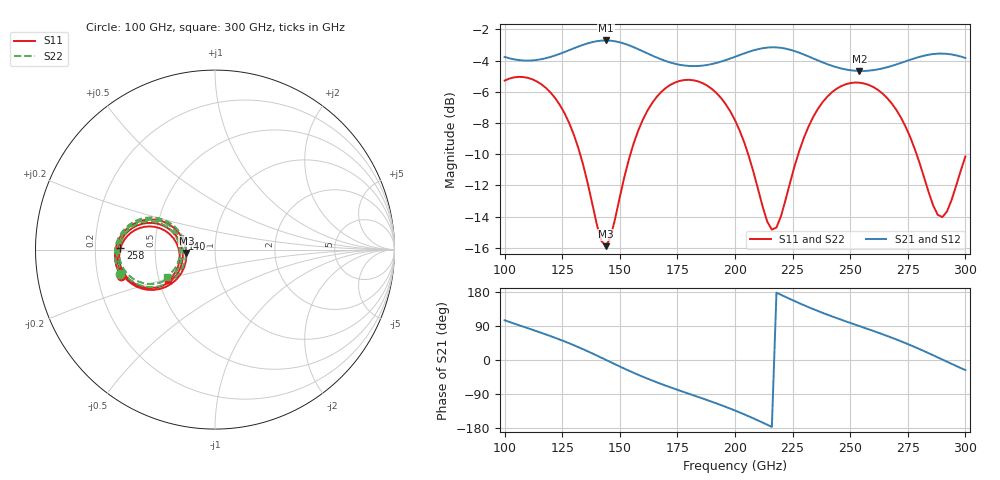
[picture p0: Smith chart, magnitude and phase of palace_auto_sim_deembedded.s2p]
! Created with skrf 1.11.0 (http://scikit-rf.org).
# GHz S DB R 50.0
!freq dBS11 angS11 dBS21 angS21 dBS12 angS12 dBS22 angS22
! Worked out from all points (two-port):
!   101 points, 100 GHz to 300 GHz, reference 50 ohm
!   highest |S21| = -2.71 dB at 144 GHz (marker M1); lowest = -4.7 dB at 254 GHz (marker M2)
!   |S21| within 3 dB of the highest: start of sweep to end of sweep
!   lowest |S11| = -15.9 dB at 144 GHz (marker M3), VSWR 1.38, Z = 36.2 - j1.39 ohm
!   |S11| at or under -10 dB: 132.8 GHz to 154.6 GHz (21.86 GHz wide, 15.2 % of centre); 205.7 GHz to 227.5 GHz (21.77 GHz wide, 10.1 % of centre); 278.8 GHz to end of sweep
!   |S22| runs from -15.8 to -5.1 dB; largest |S21 - S12| = 1.1e-13
!   S11 on the Smith chart (normalised r, x): 100 GHz: 0.30, -0.13; 140 GHz: 0.69, +0.08; 258 GHz: 0.31, +0.01; 300 GHz: 0.56, -0.21
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100  -5.29 -164.2  -3.77 104.9  -3.77 104.9  -5.29 -165.6
116  -5.53 171.4  -3.91 71.5  -3.91 71.5  -5.53 169.8
126  -7.38 157.4  -3.46 49.0  -3.46 49.0  -7.38 155.6
134  -10.64 151.2  -3.00 28.6  -3.00 28.6  -10.63 149.4
140  -14.50 162.0  -2.76 11.9  -2.76 11.9  -14.45 160.1
144  -15.90 -173.3  -2.71 0.3  -2.71 0.3  -15.84 -175.5
156  -9.32 -142.7  -3.14 -33.8  -3.14 -33.8  -9.32 -145.3
168  -6.01 -157.5  -3.93 -63.3  -3.93 -63.3  -6.02 -160.1
184  -5.34 179.4  -4.35 -97.5  -4.35 -97.5  -5.35 176.6
200  -7.83 158.6  -3.76 -133.3  -3.76 -133.3  -7.84 155.5
208  -11.14 155.9  -3.35 -154.0  -3.35 -154.0  -11.16 152.6
216  -14.84 -178.1  -3.15 -176.6  -3.15 -176.6  -14.88 178.6
224  -11.77 -146.6  -3.31 160.6  -3.31 160.6  -11.79 -149.9
234  -7.60 -149.1  -3.87 134.2  -3.87 134.2  -7.62 -152.6
244  -5.82 -161.8  -4.43 110.9  -4.43 110.9  -5.83 -165.5
254  -5.42 -175.5  -4.67 89.5  -4.67 89.5  -5.44 -179.4
258  -5.56 179.1  -4.65 81.0  -4.65 81.0  -5.58 175.2
268  -6.75 166.4  -4.35 59.0  -4.35 59.0  -6.77 162.2
278  -9.66 158.8  -3.86 34.3  -3.86 34.3  -9.71 154.3
288  -13.89 178.7  -3.56 6.9  -3.56 6.9  -14.04 174.3
292  -13.68 -162.8  -3.57 -4.5  -3.57 -4.5  -13.83 -166.9
300  -10.15 -146.8  -3.84 -26.7  -3.84 -26.7  -10.22 -150.8
